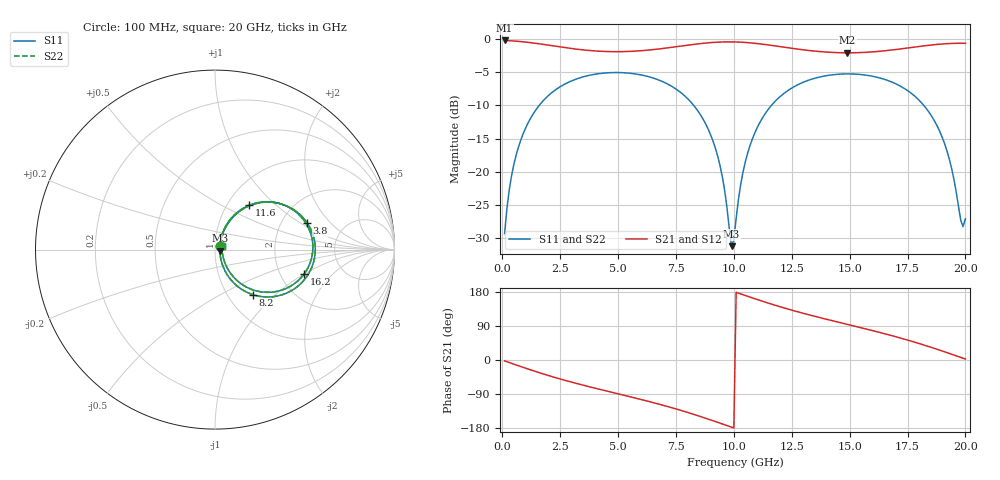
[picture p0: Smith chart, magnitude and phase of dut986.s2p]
! Touchstone file exported from HFSS 2026.1.0
!  File:  C:/ffzhzh/LocalFiles/Ansys_Project_Files/temp_train_TSV_RDL_986_1783287801_30076.aedt
!  Generated:  06:02:51 AM Jul  6, 2026
!  Design:  TSV_RDL
!  Project:  temp_train_TSV_RDL_986_1783287801_30076
! Variables:
!  h_bsmrdl = 2.88um
!  h_ox = 20um
!  h_rdl = 5um
!  h_sub = 84.67um
!  h_tmrdl = 4.55um
!  h_tsv = 84.67um
!  h_via = 3um
!  l_bsmrdl = 587.14um
!  l_sub = 6073.69um
!  l_tmrdl = 939.15um
!  m_sub = 200um
!  pitch = 55.34um
!  r_tsv = 3.98um
!  s_tmrdl = 10um
!  w_bsmrdl = 28.71um
!  w_sub = 500um
!  w_tmrdl = 23.18um
!  x_tsv_center1 = 950.74um
!  x_tsv_center2 = 1566.59um
!  x_tsv_center3 = 2528.92um
!  x_tsv_center4 = 3144.77um
!  x_tsv_center5 = 4107.1um
!  x_tsv_center6 = 4722.95um
# GHz S MA R 50.000000
! Terminal data exported
! Port[1] = TM_RDL1_1_T1
! Port[2] = TM_RDL5_1_T1
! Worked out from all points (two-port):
!   200 points, 100 MHz to 20 GHz, reference 50 ohm
!   highest |S21| = -0.22 dB at 100 MHz (marker M1); lowest = -2.1 dB at 14.9 GHz (marker M2)
!   |S21| within 3 dB of the highest: start of sweep to end of sweep
!   lowest |S11| = -31.2 dB at 9.9 GHz (marker M3), VSWR 1.06, Z = 52.8 - j0.568 ohm
!   |S11| at or under -10 dB: start of sweep to 1.595 GHz; 8.265 GHz to 11.63 GHz (3.361 GHz wide, 33.8 % of centre); 18.2 GHz to end of sweep
!   |S22| runs from -31.3 to -5.1 dB; largest |S21 - S12| = 1.7e-14
!   S11 on the Smith chart (normalised r, x): 100 MHz: 1.05, +0.05; 3.8 GHz: 2.75, +1.15; 8.2 GHz: 1.30, -0.73; 11.6 GHz: 1.26, +0.69; 16.2 GHz: 2.69, -1.00; 20 GHz: 1.08, +0.05
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0.1  0.03419 41.2  0.9749 -2.3  0.9749 -2.3  0.03419 41.2
! Gamma 0 0 0 0
! Port Impedance 50 0 50 0
0.5  0.1136 64.7  0.9658 -11.0  0.9658 -11.0  0.1136 64.7
1.1  0.2309 59.2  0.9442 -23.6  0.9442 -23.6  0.2309 59.2
3.5  0.5189 20.7  0.8271 -66.6  0.8271 -66.6  0.5189 20.7
3.8  0.5343 16.2  0.8179 -71.2  0.8179 -71.2  0.5343 16.2
5.3  0.556 -5.3  0.804 -93.7  0.804 -93.7  0.556 -5.3
6.8  0.4877 -27.4  0.8427 -117.1  0.8427 -117.1  0.4877 -27.4
8.2  0.3264 -50.1  0.9077 -142.1  0.9077 -142.1  0.3264 -50.1
9.3  0.1314 -64.8  0.9465 -164.4  0.9465 -164.4  0.1314 -64.8
9.6  0.07294 -61.1  0.9506 -170.8  0.9506 -170.8  0.0729 -61.3
9.9  0.02749 -11.3  0.9512 -177.2  0.9512 -177.2  0.02734 -11.4
10.1  0.04449 49.7  0.9496 178.5  0.9496 178.5  0.04438 49.9
10.6  0.1388 65.5  0.9388 168.0  0.9388 168.0  0.1388 65.5
11.6  0.3124 52.3  0.8965 147.9  0.8965 147.9  0.3124 52.3
13.4  0.5005 24.2  0.8135 116.8  0.8135 116.8  0.5005 24.2
14.9  0.5457 2.9  0.7868 94.0  0.7868 94.0  0.5457 2.9
16.2  0.5142 -15.5  0.805 74.3  0.805 74.3  0.5142 -15.4
16.7  0.4833 -22.8  0.8213 66.3  0.8213 66.3  0.4833 -22.8
18.7  0.2353 -53.0  0.9075 29.8  0.9075 29.8  0.2353 -53.0
19.3  0.1256 -56.5  0.9243 17.5  0.9243 17.5  0.1256 -56.5
19.8  0.043 -20.7  0.9291 6.9  0.9291 6.9  0.04299 -20.8
20  0.04424 30.6  0.9283 2.6  0.9283 2.6  0.04422 30.6
